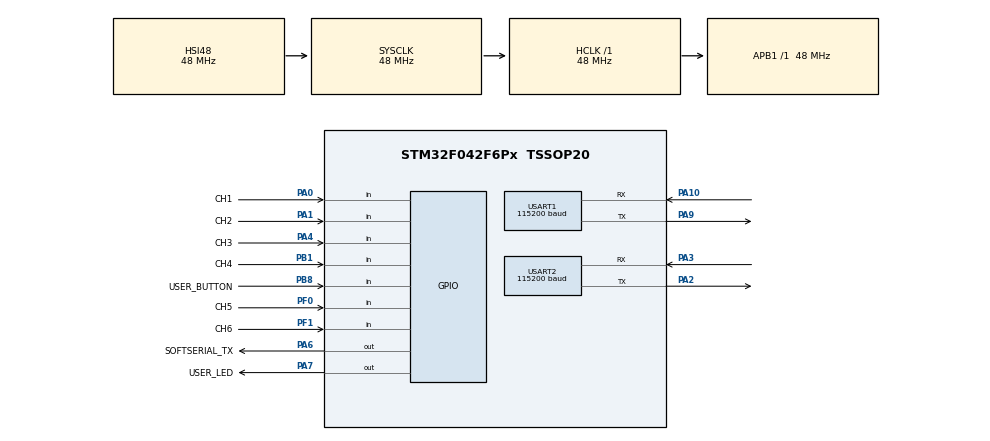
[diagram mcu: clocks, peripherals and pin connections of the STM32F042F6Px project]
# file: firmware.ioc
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Mcu.Family=STM32F0
Mcu.Name=STM32F042F6Px
Mcu.Package=TSSOP20
NVIC.TIM16_IRQn=true\:0\:0\:false\:false\:true\:true\:true\:true
NVIC.USART1_IRQn=true\:0\:0\:false\:false\:true\:true\:true\:true
NVIC.USART2_IRQn=true\:0\:0\:false\:false\:true\:true\:true\:true
PA0.GPIO_Label=CH1
PA0.Signal=GPIO_Input
PA1.GPIO_Label=CH2
PA1.Signal=GPIO_Input
PA10.Mode=Asynchronous
PA10.Signal=USART1_RX
PA13.Mode=Serial_Wire
PA13.Signal=SYS_SWDIO
PA14.Mode=Serial_Wire
PA14.Signal=SYS_SWCLK
PA2.Mode=Asynchronous
PA2.Signal=USART2_TX
PA3.Mode=Asynchronous
PA3.Signal=USART2_RX
PA4.GPIO_Label=CH3
PA4.Signal=GPIO_Input
PA6.GPIO_Label=SOFTSERIAL_TX
PA6.PinState=GPIO_PIN_SET
PA6.Signal=GPIO_Output
PA7.GPIO_Label=USER_LED
PA7.Signal=GPIO_Output
PA9.Mode=Asynchronous
PA9.Signal=USART1_TX
PB1.GPIO_Label=CH4
PB1.Signal=GPIO_Input
PB8.GPIO_Label=USER_BUTTON
PB8.Signal=GPIO_Input
PF0-OSC_IN.GPIO_Label=CH5
PF0-OSC_IN.Signal=GPIO_Input
PF1-OSC_OUT.GPIO_Label=CH6
PF1-OSC_OUT.Signal=GPIO_Input
ProjectManager.HeapSize=0x200
ProjectManager.StackSize=0x400
ProjectManager.TargetToolchain=MDK-ARM V5.32
RCC.AHBFreq_Value=48000000
RCC.APB1Freq_Value=48000000
RCC.APB1TimFreq_Value=48000000
RCC.HCLKFreq_Value=48000000
RCC.PLLSourceVirtual=RCC_PLLSOURCE_HSI48
RCC.SYSCLKFreq_VALUE=48000000
RCC.SYSCLKSource=RCC_SYSCLKSOURCE_HSI48
TIM16.Period=25000
TIM16.Prescaler=47
TIM2.Prescaler=47
USART1.BaudRate=115200
USART1.VirtualMode=VM_ASYNC
USART2.BaudRate=115200
USART2.VirtualMode-Asynchronous=VM_ASYNC
VP_TIM16_VS_ClockSourceINT.Mode=Enable_Timer
VP_TIM2_VS_ClockSourceINT.Mode=Internal
board=custom

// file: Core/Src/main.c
/* USER CODE BEGIN Header */
/**
  ******************************************************************************
  * @file           : main.c
  * @brief          : Main program body
  ******************************************************************************
  * @attention
  *
  * Copyright (c) 2023 STMicroelectronics.
  * All rights reserved.
  *
  * This software is licensed under terms that can be found in the LICENSE file
  * in the root directory of this software component.
  * If no LICENSE file comes with this software, it is provided AS-IS.
  *
  ******************************************************************************
  */
/* USER CODE END Header */
#include "main.h"

/* USER CODE BEGIN Includes */
#include <stdio.h>
#include <string.h>
#include <stdlib.h>
#include <time.h>
#include "buttons.h"
#include "cQueue.h"
#include "softserial.h"
#include "delay_us.h"

/* USER CODE END Includes */

/* USER CODE BEGIN PTD */
int stdin_getchar (void)
{
  return 0;
}

int stdout_putchar (int ch) {
  return 0;
}
void ttywrch (int ch) {
  return;
}
/* USER CODE END PTD */

/* USER CODE BEGIN PD */

/*
2024 08 12
0.0.1
first commit
*/
uint8_t fw_version_major = 0;
uint8_t fw_version_minor = 0;
uint8_t fw_version_patch = 1;

#define UART_BUF_SIZE 16

uint8_t towards_duckypad_tx_buf[UART_BUF_SIZE];
uint8_t towards_duckypad_rx_buf[UART_BUF_SIZE];
uint8_t away_from_duckypad_tx_buf[UART_BUF_SIZE];
uint8_t away_from_duckypad_rx_buf[UART_BUF_SIZE];

uint8_t starting_id;
/* USER CODE END PD */

TIM_HandleTypeDef htim2;
TIM_HandleTypeDef htim16;

UART_HandleTypeDef huart1;
UART_HandleTypeDef huart2;

/* USER CODE BEGIN PV */

#define towards_duckypad_uart (huart1)
#define away_from_duckypad_uart (huart2)

int fputc(int ch, FILE *f)
{
  __disable_irq();
  softserial_putc(ch);
  __enable_irq();
  return ch;
}

void towards_duckypad_send(uint8_t data)
{
  HAL_UART_Transmit(&towards_duckypad_uart, &data, 1, 100);
  printf("TDS:%02x\n", data);
}

void away_from_duckypad_send(uint8_t data)
{
  HAL_UART_Transmit(&away_from_duckypad_uart, &data, 1, 100);
  printf("AFDS:%02x\n", data);
}

/* USER CODE END PV */

void SystemClock_Config(void);
static void MX_GPIO_Init(void);
static void MX_USART2_UART_Init(void);
static void MX_TIM2_Init(void);
static void MX_TIM16_Init(void);
static void MX_USART1_UART_Init(void);

/* USER CODE BEGIN 0 */

// happens every 25ms
void HAL_TIM_PeriodElapsedCallback(TIM_HandleTypeDef *htim)
{
  channel_update(starting_id);
}

uint32_t get_rand_delay_ms(void)
{
  srand(micros());
  return 50 + (rand() % 16) * 10;
}

#define STATE_UNINITIALIZED 0
#define STATE_READY 1
volatile uint8_t current_state;

#define TOP_TWO_BITS 0xc0
#define CMD_ASK_START_ID_BITMASK 0x0
#define CMD_ASSIGN_START_ID_BITMASK 0x40

void towards_duckypad_receive_parse(uint8_t this_cmd)
{
  printf("TDR:%02x\n", this_cmd);
  if(this_cmd & CMD_ASSIGN_START_ID_BITMASK)
  {
    starting_id = towards_duckypad_rx_buf[0] & 0x3f;
    HAL_GPIO_WritePin(USER_LED_GPIO_Port, USER_LED_Pin, GPIO_PIN_SET);
    current_state = STATE_READY;
    printf("Got ID: %x\n", starting_id);
  }
}

void away_from_duckypad_receive_parse(uint8_t this_cmd)
{
  printf("AFDR:%02x\n", this_cmd);
  uint8_t cmd_type = this_cmd & TOP_TWO_BITS;
  if(cmd_type == CMD_ASK_START_ID_BITMASK)
  {
    if(this_cmd & 0x7 != fw_version_major)
      return;
    if(current_state == STATE_UNINITIALIZED)
      return;
    uint8_t next_start_id = starting_id + CHANNEL_COUNT;
    if(next_start_id >= MAX_CHANNELS)
      return;
    away_from_duckypad_send(next_start_id | CMD_ASSIGN_START_ID_BITMASK);
  }
  else if(cmd_type == CMD_SW_PRESS_BITMASK || cmd_type == CMD_SW_RELEASE_BITMASK)
  {
    q_push(&switch_event_queue, &this_cmd);
  }
}

void HAL_UART_RxCpltCallback(UART_HandleTypeDef *huart)
{
  if(huart == &towards_duckypad_uart)
    towards_duckypad_receive_parse(towards_duckypad_rx_buf[0]);
  else
    away_from_duckypad_receive_parse(away_from_duckypad_rx_buf[0]);
}

#define UART_QUEUE_SEND_FREQ_MS 10

/* USER CODE END 0 */

int main(void)
{

  /* MCU Configuration--------------------------------------------------------*/

  /* Reset of all peripherals, Initializes the Flash interface and the Systick. */
  HAL_Init();

  /* Configure the system clock */
  SystemClock_Config();

  /* Initialize all configured peripherals */
  MX_GPIO_Init();
  MX_USART2_UART_Init();
  MX_TIM2_Init();
  MX_TIM16_Init();
  MX_USART1_UART_Init();
  /* USER CODE BEGIN 2 */
  delay_us_init(&htim2);
  softserial_init(SOFTSERIAL_TX_GPIO_Port, SOFTSERIAL_TX_Pin);
  sw_event_queue_init();
  HAL_TIM_Base_Start_IT(&htim16);
  current_state = STATE_UNINITIALIZED;
  /* USER CODE END 2 */

  /* Infinite loop */
  /* USER CODE BEGIN WHILE */
  printf("duckyPad Pro Expansion Module v%d.%d.%d\n", fw_version_major, fw_version_minor, fw_version_patch);

  while (1)
  {
    HAL_UART_Receive_IT(&towards_duckypad_uart, towards_duckypad_rx_buf, 1);
    HAL_UART_Receive_IT(&away_from_duckypad_uart, away_from_duckypad_rx_buf, 1);
    /* USER CODE END WHILE */

    /* USER CODE BEGIN 3 */

    if(current_state == STATE_UNINITIALIZED)
    {
      HAL_Delay(get_rand_delay_ms());
      uint8_t cmd_ask_starting_id_towards_duckypad = fw_version_major & 0x3f;
      towards_duckypad_send(cmd_ask_starting_id_towards_duckypad);
      HAL_GPIO_TogglePin(USER_LED_GPIO_Port, USER_LED_Pin);
    }
    else
    {
      HAL_Delay(UART_QUEUE_SEND_FREQ_MS);
      uint8_t this_cmd;
      if(q_pop(&switch_event_queue, &this_cmd) == 0)
        continue;
      towards_duckypad_send(this_cmd);
    }
  }
  /* USER CODE END 3 */
}

void SystemClock_Config(void)
{
  RCC_OscInitTypeDef RCC_OscInitStruct = {0};
  RCC_ClkInitTypeDef RCC_ClkInitStruct = {0};
  RCC_PeriphCLKInitTypeDef PeriphClkInit = {0};

  /** Initializes the RCC Oscillators according to the specified parameters
  * in the RCC_OscInitTypeDef structure.
  */
  RCC_OscInitStruct.OscillatorType = RCC_OSCILLATORTYPE_HSI48;
  RCC_OscInitStruct.HSI48State = RCC_HSI48_ON;
  RCC_OscInitStruct.PLL.PLLState = RCC_PLL_NONE;
  if (HAL_RCC_OscConfig(&RCC_OscInitStruct) != HAL_OK)
  {
    Error_Handler();
  }

  /** Initializes the CPU, AHB and APB buses clocks
  */
  RCC_ClkInitStruct.ClockType = RCC_CLOCKTYPE_HCLK|RCC_CLOCKTYPE_SYSCLK
                              |RCC_CLOCKTYPE_PCLK1;
  RCC_ClkInitStruct.SYSCLKSource = RCC_SYSCLKSOURCE_HSI48;
  RCC_ClkInitStruct.AHBCLKDivider = RCC_SYSCLK_DIV1;
  RCC_ClkInitStruct.APB1CLKDivider = RCC_HCLK_DIV1;

  if (HAL_RCC_ClockConfig(&RCC_ClkInitStruct, FLASH_LATENCY_1) != HAL_OK)
  {
    Error_Handler();
  }
  PeriphClkInit.PeriphClockSelection = RCC_PERIPHCLK_USART1;
  PeriphClkInit.Usart1ClockSelection = RCC_USART1CLKSOURCE_PCLK1;
  if (HAL_RCCEx_PeriphCLKConfig(&PeriphClkInit) != HAL_OK)
  {
    Error_Handler();
  }
}

static void MX_TIM2_Init(void)
{

  TIM_ClockConfigTypeDef sClockSourceConfig = {0};
  TIM_MasterConfigTypeDef sMasterConfig = {0};

  htim2.Instance = TIM2;
  htim2.Init.Prescaler = 47;
  htim2.Init.CounterMode = TIM_COUNTERMODE_UP;
  htim2.Init.Period = 4294967295;
  htim2.Init.ClockDivision = TIM_CLOCKDIVISION_DIV1;
  htim2.Init.AutoReloadPreload = TIM_AUTORELOAD_PRELOAD_DISABLE;
  if (HAL_TIM_Base_Init(&htim2) != HAL_OK)
  {
    Error_Handler();
  }
  sClockSourceConfig.ClockSource = TIM_CLOCKSOURCE_INTERNAL;
  if (HAL_TIM_ConfigClockSource(&htim2, &sClockSourceConfig) != HAL_OK)
  {
    Error_Handler();
  }
  sMasterConfig.MasterOutputTrigger = TIM_TRGO_RESET;
  sMasterConfig.MasterSlaveMode = TIM_MASTERSLAVEMODE_DISABLE;
  if (HAL_TIMEx_MasterConfigSynchronization(&htim2, &sMasterConfig) != HAL_OK)
  {
    Error_Handler();
  }

}

static void MX_TIM16_Init(void)
{

  htim16.Instance = TIM16;
  htim16.Init.Prescaler = 47;
  htim16.Init.CounterMode = TIM_COUNTERMODE_UP;
  htim16.Init.Period = 25000;
  htim16.Init.ClockDivision = TIM_CLOCKDIVISION_DIV1;
  htim16.Init.RepetitionCounter = 0;
  htim16.Init.AutoReloadPreload = TIM_AUTORELOAD_PRELOAD_DISABLE;
  if (HAL_TIM_Base_Init(&htim16) != HAL_OK)
  {
    Error_Handler();
  }

}

static void MX_USART1_UART_Init(void)
{

  huart1.Instance = USART1;
  huart1.Init.BaudRate = 115200;
  huart1.Init.WordLength = UART_WORDLENGTH_8B;
  huart1.Init.StopBits = UART_STOPBITS_1;
  huart1.Init.Parity = UART_PARITY_NONE;
  huart1.Init.Mode = UART_MODE_TX_RX;
  huart1.Init.HwFlowCtl = UART_HWCONTROL_NONE;
  huart1.Init.OverSampling = UART_OVERSAMPLING_16;
  huart1.Init.OneBitSampling = UART_ONE_BIT_SAMPLE_DISABLE;
  huart1.AdvancedInit.AdvFeatureInit = UART_ADVFEATURE_NO_INIT;
  if (HAL_UART_Init(&huart1) != HAL_OK)
  {
    Error_Handler();
  }

}

static void MX_USART2_UART_Init(void)
{

  huart2.Instance = USART2;
  huart2.Init.BaudRate = 115200;
  huart2.Init.WordLength = UART_WORDLENGTH_8B;
  huart2.Init.StopBits = UART_STOPBITS_1;
  huart2.Init.Parity = UART_PARITY_NONE;
  huart2.Init.Mode = UART_MODE_TX_RX;
  huart2.Init.HwFlowCtl = UART_HWCONTROL_NONE;
  huart2.Init.OverSampling = UART_OVERSAMPLING_16;
  huart2.Init.OneBitSampling = UART_ONE_BIT_SAMPLE_DISABLE;
  huart2.AdvancedInit.AdvFeatureInit = UART_ADVFEATURE_NO_INIT;
  if (HAL_UART_Init(&huart2) != HAL_OK)
  {
    Error_Handler();
  }

}

static void MX_GPIO_Init(void)
{
  GPIO_InitTypeDef GPIO_InitStruct = {0};

  /* GPIO Ports Clock Enable */
  __HAL_RCC_GPIOB_CLK_ENABLE();
  __HAL_RCC_GPIOF_CLK_ENABLE();
  __HAL_RCC_GPIOA_CLK_ENABLE();

  /*Configure GPIO pin Output Level */
  HAL_GPIO_WritePin(SOFTSERIAL_TX_GPIO_Port, SOFTSERIAL_TX_Pin, GPIO_PIN_SET);

  /*Configure GPIO pin Output Level */
  HAL_GPIO_WritePin(USER_LED_GPIO_Port, USER_LED_Pin, GPIO_PIN_RESET);

  /*Configure GPIO pins : USER_BUTTON_Pin CH4_Pin */
  GPIO_InitStruct.Pin = USER_BUTTON_Pin|CH4_Pin;
  GPIO_InitStruct.Mode = GPIO_MODE_INPUT;
  GPIO_InitStruct.Pull = GPIO_NOPULL;
  HAL_GPIO_Init(GPIOB, &GPIO_InitStruct);

  /*Configure GPIO pins : CH5_Pin CH6_Pin */
  GPIO_InitStruct.Pin = CH5_Pin|CH6_Pin;
  GPIO_InitStruct.Mode = GPIO_MODE_INPUT;
  GPIO_InitStruct.Pull = GPIO_NOPULL;
  HAL_GPIO_Init(GPIOF, &GPIO_InitStruct);

  /*Configure GPIO pins : CH1_Pin CH2_Pin CH3_Pin */
  GPIO_InitStruct.Pin = CH1_Pin|CH2_Pin|CH3_Pin;
  GPIO_InitStruct.Mode = GPIO_MODE_INPUT;
  GPIO_InitStruct.Pull = GPIO_NOPULL;
  HAL_GPIO_Init(GPIOA, &GPIO_InitStruct);

  /*Configure GPIO pins : SOFTSERIAL_TX_Pin USER_LED_Pin */
  GPIO_InitStruct.Pin = SOFTSERIAL_TX_Pin|USER_LED_Pin;
  GPIO_InitStruct.Mode = GPIO_MODE_OUTPUT_PP;
  GPIO_InitStruct.Pull = GPIO_NOPULL;
  GPIO_InitStruct.Speed = GPIO_SPEED_FREQ_LOW;
  HAL_GPIO_Init(GPIOA, &GPIO_InitStruct);

}

void Error_Handler(void)
{
  __disable_irq();
  while (1)
  {
  }
}
